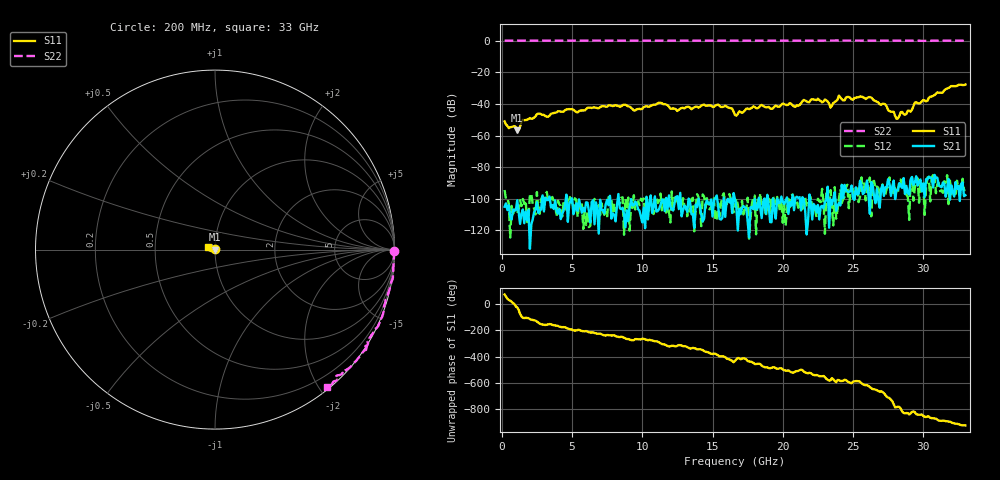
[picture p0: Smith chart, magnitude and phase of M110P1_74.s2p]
# GHZ S RI R 50
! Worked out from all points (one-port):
!   329 points, 200 MHz to 33 GHz, reference 50 ohm
!   lowest |S11| = -56.7 dB at 1.1 GHz (marker M1), VSWR 1.00, Z = 50.1 - j0.0674 ohm
!   |S11| at or under -10 dB: start of sweep to end of sweep
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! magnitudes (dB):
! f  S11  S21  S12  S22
! 200 MHz  -51.0  -105.0  -94.4  0.0
! 1.1 GHz  -56.7  -100.9  -108.8  0.0
! 1.5 GHz  -50.0  -106.7  -100.1  0.0
! 2.6 GHz  -46.1  -109.0  -107.3  0.0
! 5.7 GHz  -44.2  -108.8  -103.6  0.0
! 8.7 GHz  -40.6  -109.5  -122.7  0.0
! 9.5 GHz  -44.1  -101.7  -106.8  0.0
! 11.2 GHz  -39.3  -106.3  -101.1  -0.1
! 12.5 GHz  -44.5  -98.3  -101.7  -0.1
! 15.4 GHz  -40.4  -104.6  -102.6  0.0
! 16.6 GHz  -47.1  -100.2  -104.9  0.0
! 17.9 GHz  -41.6  -106.6  -99.0  0.0
! 22.1 GHz  -37.1  -113.1  -105.9  0.0
! 23 GHz  -37.2  -102.1  -122.1  0.0
! 23.4 GHz  -42.3  -100.3  -94.5  0.0
! 24 GHz  -34.7  -102.6  -99.9  0.0
! 26.2 GHz  -35.7  -109.5  -86.6  0.0
! 27.6 GHz  -44.6  -90.6  -86.5  0.0
! 28.2 GHz  -49.1  -94.3  -95.6  -0.1
! 29.1 GHz  -45.0  -87.8  -88.9  -0.1
! 29.4 GHz  -39.1  -89.6  -93.1  -0.1
! 33 GHz  -27.8  -97.7  -94.3  -0.1
